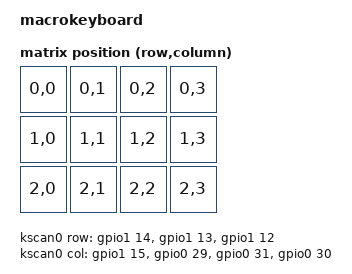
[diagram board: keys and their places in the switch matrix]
/*
 * Copyright (c) 2021 Nick Winans
 *
 * SPDX-License-Identifier: MIT
 */

/dts-v1/;
#include <nordic/nrf52840_qiaa.dtsi>

#include <dt-bindings/led/led.h>
#include <dt-bindings/zmk/matrix_transform.h>

#include "macrokeyboard-pinctrl.dtsi"

/ {
    model = "macrokeyboard";
    compatible = "macrokeyboard";

    macrokeyboard_layout: macrokeyboard_layout {
        compatible = "zmk,physical-layout";
        display-name = "MacroKeyboard 3x4";
        transform = <&default_transform>;
    };

    chosen {
        zephyr,code-partition = &code_partition;
        zephyr,sram = &sram0;
        zephyr,flash = &flash0;
        zmk,battery = &vbatt;
        zmk,kscan = &kscan0;
        zmk,physical-layout = &macrokeyboard_layout;
        zmk,matrix-transform = &default_transform;
        zmk,underglow = &led_strip;
    };

    default_transform: keymap_transform_0 {
        compatible = "zmk,matrix-transform";
        columns = <4>;
        rows = <3>;
        map = <
            RC(0,0) RC(0,1) RC(0,2) RC(0,3)
            RC(1,0) RC(1,1) RC(1,2) RC(1,3)
            RC(2,0) RC(2,1) RC(2,2) RC(2,3)
        >;
    };

    kscan0: kscan {
        compatible = "zmk,kscan-gpio-matrix";
        wakeup-source;

        diode-direction = "col2row";
        row-gpios
            = <&gpio1 14 (GPIO_ACTIVE_HIGH | GPIO_PULL_DOWN)> // Linha 1
            , <&gpio1 13 (GPIO_ACTIVE_HIGH | GPIO_PULL_DOWN)> // Linha 2
            , <&gpio1 12 (GPIO_ACTIVE_HIGH | GPIO_PULL_DOWN)> // Linha 3
            ;
        col-gpios
            = <&gpio1 15 GPIO_ACTIVE_HIGH> // COLUNA 1
            , <&gpio0 29 GPIO_ACTIVE_HIGH> // COLUNA 2
            , <&gpio0 31 GPIO_ACTIVE_HIGH> // COLUNA 3
            , <&gpio0 30 GPIO_ACTIVE_HIGH> // COLUNA 4
            ;
    };

    leds {
        compatible = "gpio-leds";
        blue_led: led_0 {
            gpios = <&gpio0 26 GPIO_ACTIVE_HIGH>;
        };
    };

    // Node name must match original "EXT_POWER" label to preserve user settings.
    EXT_POWER {
        compatible = "zmk,ext-power-generic";
        control-gpios = <&gpio0 5 GPIO_ACTIVE_LOW>;
    };

    vbatt: vbatt {
        compatible = "zmk,battery-voltage-divider";
        io-channels = <&adc 2>;
        output-ohms = <2000000>;
        full-ohms = <2806000>;
    };
};

&adc {
    status = "okay";
};

&gpiote {
    status = "okay";
};

&gpio0 {
    status = "okay";
};

&gpio1 {
    status = "okay";
};

&spi3 {
    compatible = "nordic,nrf-spim";

    pinctrl-0 = <&spi3_default>;
    pinctrl-1 = <&spi3_sleep>;
    pinctrl-names = "default", "sleep";
    status = "okay";

    led_strip: ws2812@0 {
        compatible = "worldsemi,ws2812-spi";

        /* SPI */
        reg = <0>; /* ignored, but necessary for SPI bindings */
        spi-max-frequency = <4000000>;

        /* WS2812 */
        chain-length = <12>; /* LED strip length */
        spi-one-frame = <0x70>;
        spi-zero-frame = <0x40>;
        color-mapping = <LED_COLOR_ID_GREEN LED_COLOR_ID_RED LED_COLOR_ID_BLUE>;
    };
};

zephyr_udc0: &usbd {
    status = "okay";
};

&flash0 {
    /*
     * For more information, see:
     * http://docs.zephyrproject.org/latest/devices/dts/flash_partitions.html
     */
    partitions {
        compatible = "fixed-partitions";
        #address-cells = <1>;
        #size-cells = <1>;

        sd_partition: partition@0 {
            reg = <0x00000000 0x00001000>;
        };

        code_partition: partition@1000 {
            reg = <0x00001000 0x000d3000>;
        };

        /*
         * The flash starting at 0x000d4000 and ending at
         * 0x000f3fff is reserved for use by the application.
         */

        /*
         * Storage partition will be used by FCB/LittleFS/NVS
         * if enabled.
         */
        storage_partition: partition@d4000 {
            reg = <0x000d4000 0x00020000>;
        };

        boot_partition: partition@f4000 {
            reg = <0x000f4000 0x0000c000>;
        };
    };
};



// |   Arduino Label   | GPIO (nRF52840)  |
// |-------------------|------------------|
// | D0                | P0.08            |
// | D1                | P0.06            |
// | D2                | P0.17            |
// | D3                | P0.20            |
// | D4                | P0.22            |
// | D5                | P0.24            |
// | D6                | P0.10            |
// | D7                | P0.11            |
// | D8                | P1.08            |
// | D9                | P1.06            |
// | D10               | P0.09            |
// | D11               | P0.10            |
// | D12               | P0.11            |
// | D13               | P1.13            |
// | D14               | P1.11            |
// | D15               | P1.13            |
// | D16               | P0.10            |
// | D17               | P1.15            |
// | D18               | P1.15            |
// | D19               | P0.02            |
// | D20               | P0.29            |
// | D21               | P0.31            |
